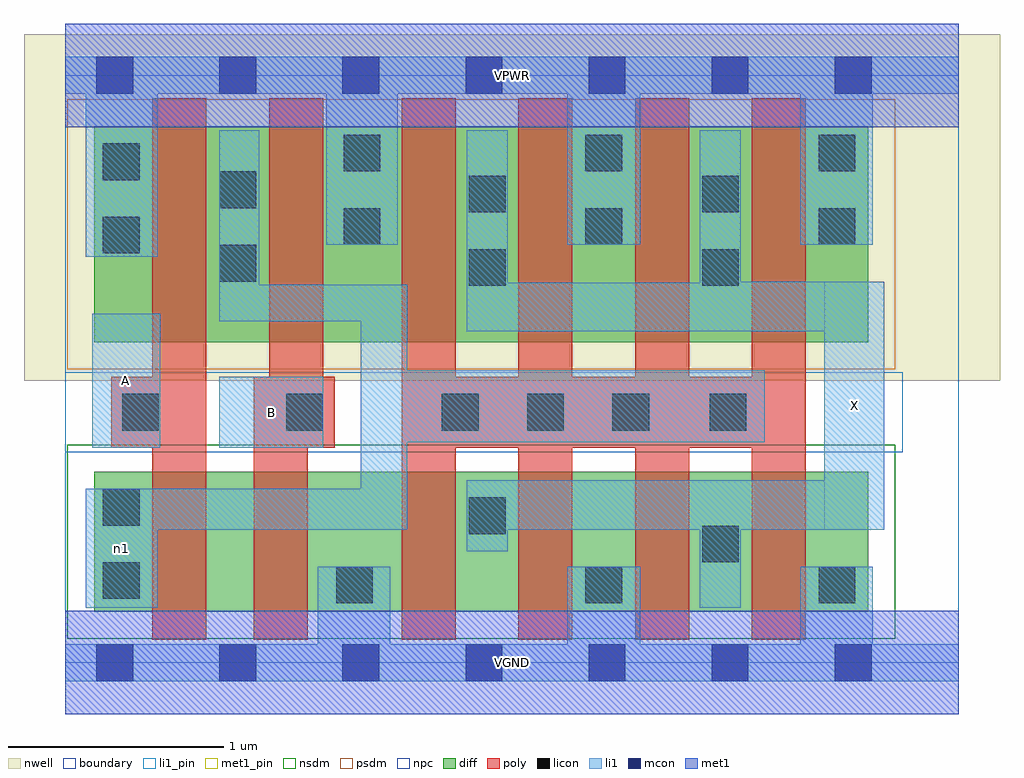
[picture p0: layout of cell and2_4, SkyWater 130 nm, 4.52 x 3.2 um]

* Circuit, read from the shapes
.subckt and2_4 A B VGND VPWR X n1
XM1 n2 A n1 VSUBS sky130_fd_pr__nfet_01v8 w=0.65 l=0.25
XM2 VGND B n2 VSUBS sky130_fd_pr__nfet_01v8 w=0.65 l=0.25
XM3 X n1 VGND VSUBS sky130_fd_pr__nfet_01v8 w=0.65 l=0.25 m=4
XM4 n1 A VPWR n3 sky130_fd_pr__pfet_01v8 w=1 l=0.25
XM5 VPWR B n1 n3 sky130_fd_pr__pfet_01v8 w=1 l=0.25
XM6 X n1 VPWR n3 sky130_fd_pr__pfet_01v8 w=1 l=0.25 m=4
.ends

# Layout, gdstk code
import gdstk
lib = gdstk.Library(unit=1e-6, precision=1e-09)
def R(c, l, rs):  # rectangles x0, y0, x1, y1
    for r in rs: c.add(gdstk.rectangle(r[:2], r[2:], *l))
def A(c, l, x, y, w, h, nx, ny, dx, dy):  # array of equal rectangles
    R(c, l, [(x+i*dx, y+j*dy, x+i*dx+w, y+j*dy+h) for i in range(nx) for j in range(ny)])
nwell = (64, 20)
diff = (65, 20)
poly = (66, 20)
licon = (66, 44)
li1_pin = (67, 16)
li1 = (67, 20)
mcon = (67, 44)
met1_pin = (68, 16)
met1 = (68, 20)
nsdm = (93, 44)
psdm = (94, 20)
npc = (95, 20)
boundary = (235, 4)

and2_4 = lib.new_cell('and2_4')
R(and2_4, nwell, [(-0.19,1.305,4.33,2.91), (0,1.305,4.14,2.91)])
R(and2_4, diff, [(0.135,0.235,3.72,0.885), (0.135,1.485,3.72,2.485)])
A(and2_4, poly, 1.56, 0.105, 0.25, 2.51, 4, 1, 0.54, 0)
R(and2_4, poly, [(0.405,0.105,0.655,2.615), (0.875,0.105,1.125,1.325), (0.215,0.995,0.655,1.325), (0.875,0.995,1.25,1.325), (0.945,0.995,1.195,2.615), (1.56,0.995,3.43,1.325)])
A(and2_4, licon, 1.745, 1.075, 0.17, 0.17, 3, 1, 0.395, 0)
R(and2_4, licon, [(1.255,0.275,1.425,0.445), (2.41,0.275,2.58,0.445), (3.49,0.275,3.66,0.445), (0.175,0.295,0.345,0.465), (2.95,0.465,3.12,0.635), (1.87,0.595,2.04,0.765), (0.175,0.635,0.345,0.805), (0.265,1.075,0.435,1.245), (1.025,1.075,1.195,1.245), (2.985,1.075,3.155,1.245), (1.87,1.745,2.04,1.915), (2.95,1.745,3.12,1.915), (0.715,1.765,0.885,1.935), (0.175,1.895,0.345,2.065), (1.29,1.935,1.46,2.105), (2.41,1.935,2.58,2.105), (3.49,1.935,3.66,2.105), (1.87,2.085,2.04,2.255), (2.95,2.085,3.12,2.255), (0.715,2.105,0.885,2.275), (0.175,2.235,0.345,2.405), (1.29,2.275,1.46,2.445), (2.41,2.275,2.58,2.445), (3.49,2.275,3.66,2.445)])
R(and2_4, li1_pin, [(3.515,0.615,3.795,1.765), (0.125,0.995,0.44,1.615), (0.715,0.995,1.195,1.325)])
R(and2_4, li1, [(0,-0.085,4.14,0.085), (1.17,-0.085,1.505,0.445), (2.325,-0.085,2.665,0.445), (3.405,-0.085,3.74,0.445), (0.095,0.255,0.43,0.805), (2.94,0.255,3.13,0.845), (1.86,0.515,2.05,0.845), (0.095,0.615,1.585,0.805), (1.37,0.615,1.585,1.75), (1.86,0.615,3.795,0.845), (3.515,0.615,3.795,1.765), (0.125,0.995,0.44,1.615), (0.715,0.995,1.195,1.325), (1.37,1.02,3.24,1.355), (1.86,1.535,3.795,1.76), (1.86,1.535,2.05,2.465), (2.94,1.535,3.13,2.465), (2.94,1.535,3.795,1.765), (0.715,1.58,0.9,2.465), (0.715,1.58,1.585,1.75), (0.095,1.88,0.43,2.805), (1.21,1.935,1.54,2.805), (2.325,1.935,2.665,2.805), (3.405,1.935,3.74,2.805), (0,2.635,4.14,2.805)])
A(and2_4, mcon, 0.145, -0.085, 0.17, 0.17, 7, 2, 0.57, 2.72)
R(and2_4, met1_pin, [(0,-0.24,4.14,0.24), (0,2.48,4.14,2.96)])
R(and2_4, met1, [(0,-0.24,4.14,0.24), (0,2.48,4.14,2.96)])
R(and2_4, nsdm, [(0.01,0.11,3.845,1.01)])
R(and2_4, psdm, [(0.01,1.36,3.845,2.61)])
R(and2_4, npc, [(0,0.975,3.88,1.345)])
R(and2_4, boundary, [(0,0,4.14,2.72)])
and2_4.add(gdstk.Label('A', (0.282,1.305), layer=67, texttype=5))
and2_4.add(gdstk.Label('B', (0.955,1.16), layer=67, texttype=5))
and2_4.add(gdstk.Label('X', (3.655,1.19), layer=67, texttype=5))
and2_4.add(gdstk.Label('n1', (0.262,0.53), layer=67, texttype=5))
and2_4.add(gdstk.Label('VPWR', (2.07,2.72), layer=68, texttype=5))
and2_4.add(gdstk.Label('VGND', (2.07,0), layer=68, texttype=5))
and2_4.add(gdstk.Label('A', (0.282,1.305), layer=67, texttype=16))
and2_4.add(gdstk.Label('B', (0.955,1.16), layer=67, texttype=16))
and2_4.add(gdstk.Label('X', (3.655,1.19), layer=67, texttype=16))
and2_4.add(gdstk.Label('VPWR', (2.07,2.72), layer=68, texttype=16))
and2_4.add(gdstk.Label('VGND', (2.07,0), layer=68, texttype=16))

lib.write_gds('and2_4.gds')
